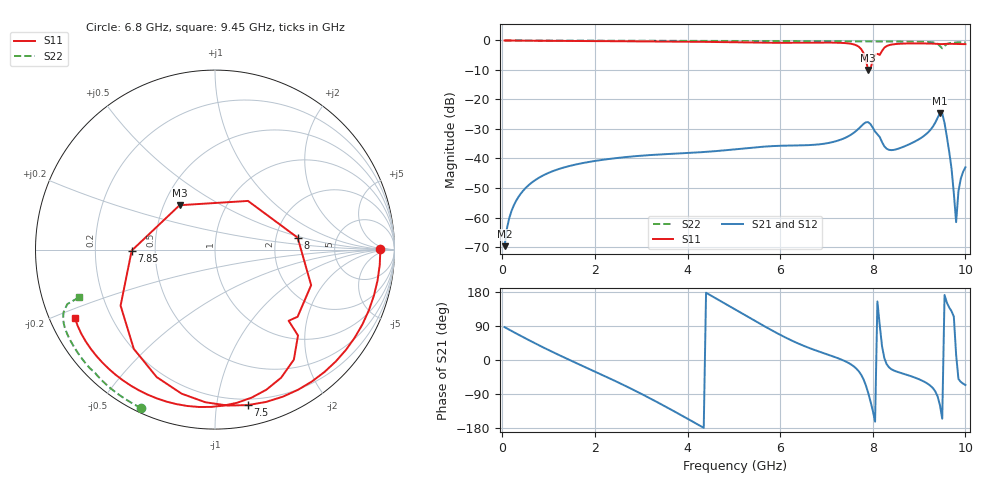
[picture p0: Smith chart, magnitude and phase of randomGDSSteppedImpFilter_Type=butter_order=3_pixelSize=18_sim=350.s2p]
! freq	dB(S11)	phase(S11)	dB(S12)	phase(S12)
!  dB(S21)	phase(S21)	dB(S22)	phase(S22)
!S-par simulation data
#  GHz  S  DB  R 50
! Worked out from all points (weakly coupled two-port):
!   200 points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, 50 MHz to 10 GHz, reference 50 ohm
!   highest |S21| = -24.60 dB at 9.45 GHz (marker M1); lowest = -69.7 dB at 50 MHz (marker M2)
!   lowest |S11| = -10.0 dB at 7.9 GHz (marker M3), VSWR 1.93, Z = 30.1 + j16.5 ohm
!   |S11| at or under -10 dB: nowhere
!   |S22| runs from -2.7 to 0.0 dB; largest |S21 - S12| = 0
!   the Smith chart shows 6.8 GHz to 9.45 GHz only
!   S11 on the Smith chart (normalised r, x): 6.8 GHz: 24, +1; 7.5 GHz: 0.15, -1.22; 7.85 GHz: 0.37, -0.01; 8 GHz: 2.65, +0.45; 9.45 GHz: 0.07, -0.23
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0.05  -0.00 -5.8  -69.71 86.6  -69.71 86.6  -0.00 -0.9
0.3  -0.05 -34.1  -54.30 70.1  -54.30 70.1  -0.01 -5.6
0.85  -0.12 -94.3  -46.00 35.3  -46.00 35.3  -0.02 -15.8
1.75  -0.20 174.5  -41.51 -16.6  -41.51 -16.6  -0.04 -32.3
2.6  -0.27 89.5  -39.62 -64.9  -39.62 -64.9  -0.06 -47.4
3.4  -0.35 8.5  -38.64 -114.8  -38.64 -114.8  -0.08 -61.2
4.3  -0.46 -78.5  -37.86 -175.6  -37.86 -175.6  -0.11 -76.2
5.05  -0.62 -151.8  -36.86 131.9  -36.86 131.9  -0.14 -88.2
5.5  -0.73 158.6  -36.17 100.3  -36.17 100.3  -0.16 -95.2
5.95  -0.79 103.5  -35.72 69.7  -35.72 69.7  -0.18 -102.1
6.7  -0.72 11.4  -35.40 28.4  -35.40 28.4  -0.22 -113.4
6.8  -0.71 0.2  -35.27 23.9  -35.27 23.9  -0.23 -114.9
7.5  -1.06 -78.1  -32.22 -9.4  -32.22 -9.4  -0.28 -125.4
7.7  -2.15 -114.6  -29.82 -30.2  -29.82 -30.2  -0.30 -128.4
7.85  -6.67 -179.3  -27.74 -66.6  -27.74 -66.6  -0.32 -130.6
7.9  -10.00 128.6  -27.67 -86.3  -27.67 -86.3  -0.33 -131.3
8  -6.65 8.2  -29.56 -133.5  -29.56 -133.5  -0.35 -132.8
8.35  -1.60 -69.9  -37.06 -19.3  -37.06 -19.3  -0.35 -137.9
9.45  -1.23 -153.9  -24.60 -119.0  -24.60 -119.0  -1.92 -160.7
9.65  -1.13 -165.8  -37.67 138.7  -37.67 138.7  -0.93 -151.1
9.8  -1.18 -175.8  -61.57 13.7  -61.57 13.7  -0.67 -155.4
10  -1.26 170.9  -42.98 -66.0  -42.98 -66.0  -0.61 -159.6
